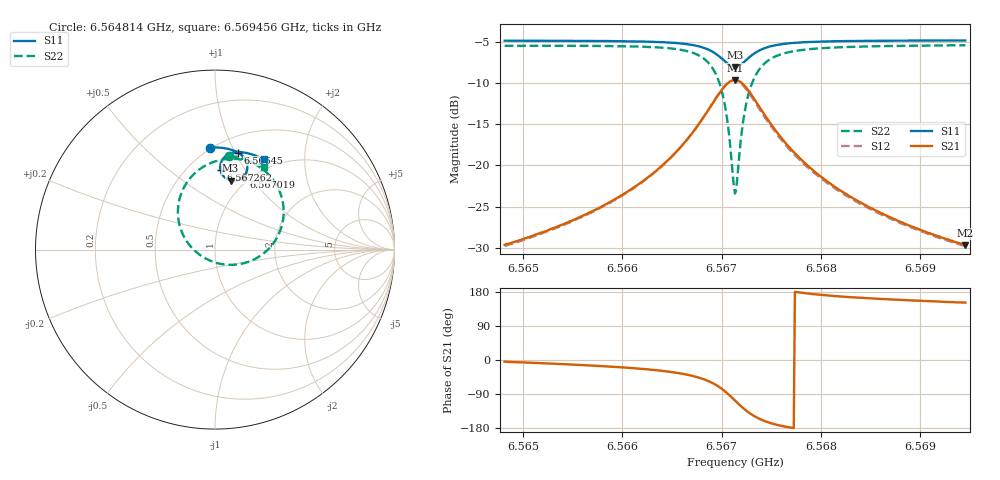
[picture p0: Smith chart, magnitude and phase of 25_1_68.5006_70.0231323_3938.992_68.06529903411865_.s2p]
#  HZ  S  RI  R  50.00
! Rohde & Schwarz Vector Network Analyzer
! Rohde-Schwarz,ZNB20-2Port,1311601062101988,3.16
! Created: UTC 3/20/2024, 4:49:41 PM
! freq[Hz]  re:S11  im:S11  re:S21  im:S21  re:S12  im:S12  re:S22  im:S22
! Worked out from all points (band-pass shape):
!   401 points, 6.564814 GHz to 6.569456 GHz, reference 50 ohm
!   highest |S21| = -9.65 dB at 6.567135 GHz (marker M1); lowest = -29.7 dB at 6.569456 GHz (marker M2)
!   |S21| within 3 dB of the highest: 6.566901 GHz to 6.567366 GHz (464.4 kHz wide, 0.00707 % of centre)
!   lowest |S11| = -8.1 dB at 6.567135 GHz (marker M3), VSWR 2.30, Z = 43 + j39.2 ohm
!   |S11| at or under -10 dB: nowhere
!   |S22| runs from -23.4 to -5.4 dB; largest |S21 - S12| = 0.018
!   S11 on the Smith chart (normalised r, x): 6.564814 GHz: 0.49, +0.83; 6.56645 GHz: 0.66, +1.03; 6.567019 GHz: 0.93, +0.93; 6.567262 GHz: 0.71, +0.78; 6.569456 GHz: 0.86, +1.28
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6.5648138e9  -0.0259 0.5688  0.0329 -0.00249  0.0322 -0.0031  0.0791 0.524
6.5655913e9  0.04 0.5665  0.0478 -0.0114  0.0471 -0.012  0.1601 0.5048
6.5660322e9  0.082 0.5591  0.064 -0.0235  0.0629 -0.0242  0.2199 0.4786
6.5663688e9  0.1188 0.5459  0.085 -0.0444  0.0838 -0.0455  0.2815 0.435
6.56645e9  0.1287 0.5406  0.0917 -0.0533  0.0905 -0.0546  0.2995 0.4174
6.5666821e9  0.1596 0.515  0.1149 -0.0979  0.1132 -0.1001  0.3576 0.3301
6.5668446e9  0.1785 0.4769  0.1236 -0.1655  0.1201 -0.1695  0.3826 0.1994
6.566949e9  0.1768 0.4361  0.1017 -0.2371  0.0945 -0.2422  0.3434 0.0629
6.5670186e9  0.1579 0.4049  0.0541 -0.2903  0.0422 -0.2941  0.2527 -0.0347
6.5670535e9  0.1408 0.392  0.0164 -0.311  0.00216 -0.3124  0.1814 -0.0699
6.5671115e9  0.1029 0.3827  -0.0625 -0.3217  -0.0786 -0.3169  0.0363 -0.0806
6.5671347e9  0.0866 0.3847  -0.0955 -0.315  -0.1111 -0.3072  -0.022 -0.0638
6.5671579e9  0.0711 0.3904  -0.1267 -0.302  -0.1408 -0.2915  -0.0754 -0.0359
6.5672159e9  0.0419 0.416  -0.1855 -0.2488  -0.1939 -0.2343  -0.1703 0.0673
6.5672623e9  0.031 0.4418  -0.2091 -0.198  -0.2127 -0.1835  -0.2027 0.1599
6.5673552e9  0.0341 0.4862  -0.2103 -0.1124  -0.2081 -0.1012  -0.1892 0.3094
6.5674944e9  0.0616 0.523  -0.1736 -0.0415  -0.1696 -0.0354  -0.11 0.4278
6.5676569e9  0.0935 0.5391  -0.1335 -0.00793  -0.13 -0.0047  -0.0273 0.4811
6.5679122e9  0.1326 0.544  -0.0937 0.00977  -0.0913 0.0113  0.0602 0.504
6.5682719e9  0.1737 0.5392  -0.064 0.0156  -0.0625 0.0164  0.1362 0.5033
6.5686897e9  0.212 0.5283  -0.0458 0.0167  -0.0445 0.017  0.1948 0.4911
6.5694556e9  0.2717 0.5022  -0.0288 0.0156  -0.0282 0.0158  0.2706 0.4605
